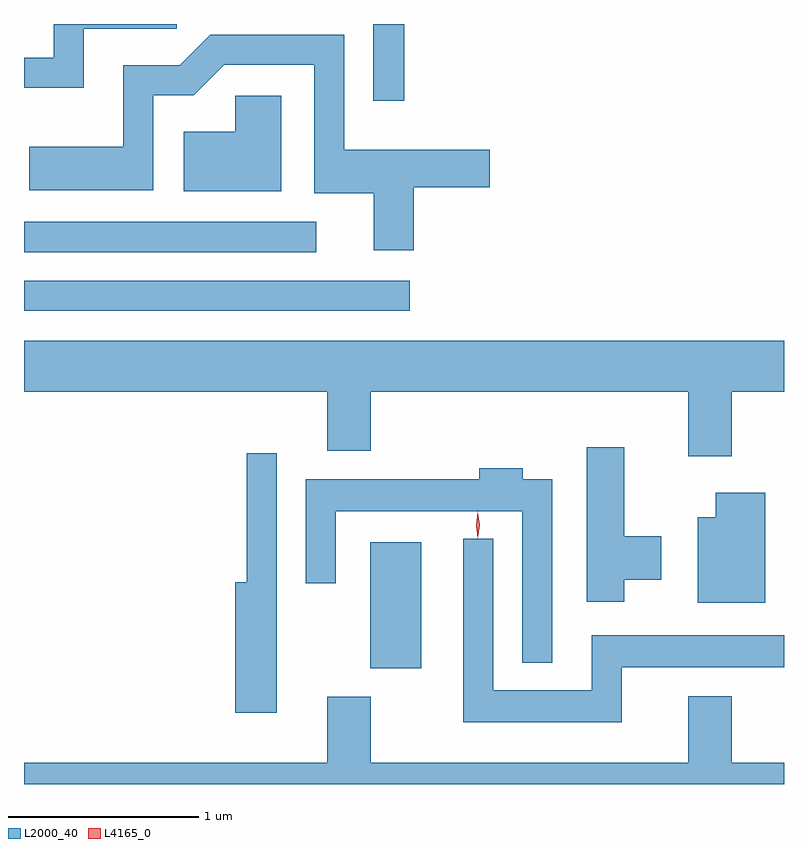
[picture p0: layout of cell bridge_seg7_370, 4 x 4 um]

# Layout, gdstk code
import gdstk
lib = gdstk.Library(unit=1e-6, precision=1e-09)
def R(c, l, rs):  # rectangles x0, y0, x1, y1
    for r in rs: c.add(gdstk.rectangle(r[:2], r[2:], *l))
def P(c, l, *ps):  # polygons
    for p in ps: c.add(gdstk.Polygon(p, *l))
L2000_40 = (2000, 40)
L4165_0 = (4165, 0)

bridge_seg7_370 = lib.new_cell('bridge_seg7_370')
R(bridge_seg7_370, L2000_40, [(1118.066,1737.281,1118.334,1737.944), (1116.244,1739.161,1118.273,1739.319), (1116.244,1739.471,1117.783,1739.629), (1118.081,1740.268,1118.244,1740.671)])
P(bridge_seg7_370, L2000_40, [(1116.559,1740.646),(1117.048,1740.646),(1117.048,1740.671),(1116.401,1740.671),(1116.401,1740.494),(1116.244,1740.494),(1116.244,1740.336),(1116.559,1740.336)],
  [(1118.294,1739.811),(1118.694,1739.811),(1118.694,1740.009),(1117.929,1740.009),(1117.929,1740.614),(1117.224,1740.614),(1117.064,1740.454),(1116.766,1740.454),(1116.766,1740.024),(1116.271,1740.024),(1116.271,1739.796),(1116.924,1739.796),(1116.924,1740.296),(1117.137,1740.296),(1117.297,1740.456),(1117.771,1740.456),(1117.771,1739.781),(1118.086,1739.781),(1118.086,1739.481),(1118.294,1739.481)],
  [(1117.599,1740.294),(1117.356,1740.294),(1117.356,1740.104),(1117.086,1740.104),(1117.086,1739.791),(1117.599,1739.791)],
  [(1119.969,1738.736),(1120.244,1738.736),(1120.244,1739.004),(1116.244,1739.004),(1116.244,1738.736),(1117.841,1738.736),(1117.841,1738.426),(1118.069,1738.426),(1118.069,1738.736),(1119.741,1738.736),(1119.741,1738.396),(1119.969,1738.396)],
  [(1119.404,1737.746),(1119.599,1737.746),(1119.599,1737.974),(1119.404,1737.974),(1119.404,1738.444),(1119.206,1738.444),(1119.206,1737.631),(1119.404,1737.631)],
  [(1117.574,1738.413),(1117.416,1738.413),(1117.416,1737.734),(1117.356,1737.734),(1117.356,1737.046),(1117.574,1737.046)],
  [(1119.024,1738.274),(1118.869,1738.274),(1118.869,1738.334),(1118.641,1738.334),(1118.641,1738.274),(1117.726,1738.274),(1117.726,1737.728),(1117.884,1737.728),(1117.884,1738.106),(1118.866,1738.106),(1118.866,1737.308),(1119.024,1737.308)],
  [(1120.144,1738.204),(1119.886,1738.204),(1119.886,1738.074),(1119.791,1738.074),(1119.791,1737.626),(1120.144,1737.626)],
  [(1119.389,1737.286),(1120.244,1737.286),(1120.244,1737.454),(1119.231,1737.454),(1119.231,1737.164),(1118.714,1737.164),(1118.714,1737.963),(1118.556,1737.963),(1118.556,1736.996),(1119.389,1736.996)],
  [(1120.244,1736.784),(1119.969,1736.784),(1119.969,1737.134),(1119.741,1737.134),(1119.741,1736.784),(1118.069,1736.784),(1118.069,1737.129),(1117.841,1737.129),(1117.841,1736.784),(1116.244,1736.784),(1116.244,1736.671),(1120.244,1736.671)])
P(bridge_seg7_370, L4165_0, [(1118.633,1737.963),(1118.632,1737.964),(1118.623,1738.033),(1118.632,1738.102),(1118.633,1738.103),(1118.633,1738.102),(1118.643,1738.033),(1118.633,1737.964)])

lib.write_gds('bridge_seg7_370.gds')
